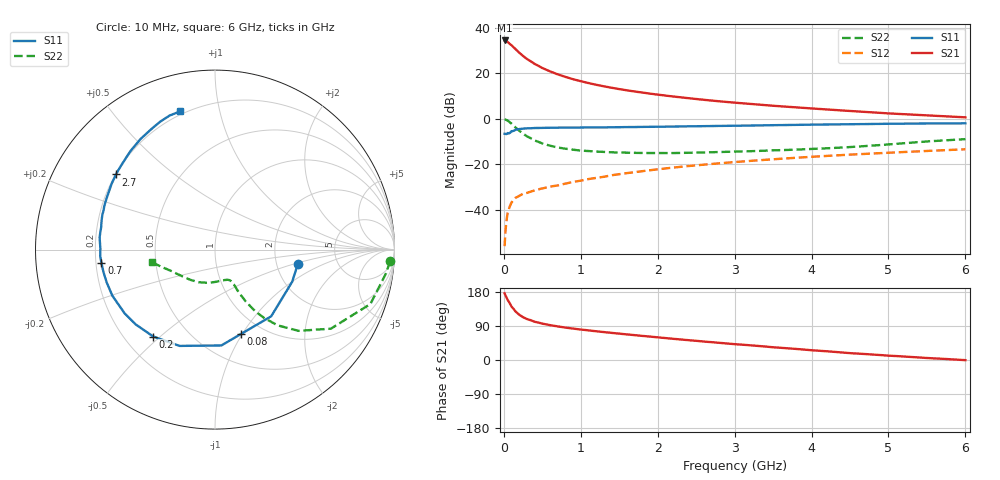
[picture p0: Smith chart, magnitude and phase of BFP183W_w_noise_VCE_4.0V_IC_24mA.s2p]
! Infineon Technologies  Discrete & RF Semiconductors
! BFP183W
! VCE =  4.0 V,  IC =  24 mA
! Common Emitter S-Parameters:  Jan 2017
# GHz  S  MA  R  50
!  f  S11  S21  S12  S22
! GHz  MAG  ANG  MAG  ANG  MAG  ANG  MAG  ANG
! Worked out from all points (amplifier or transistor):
!   77 points, 10 MHz to 6 GHz, reference 50 ohm
!   highest |S21| = 34.4 dB at 10 MHz (marker M1)
!   |S21| within 3 dB of that: start of sweep to 127.3 MHz
!   unconditionally stable (mu >= 1): 1.089 GHz to 3.505 GHz
!   at 130 MHz: K = 0.26, MSG = 33.4 dB, |S12| = -35.5 dB
!   at 2.2 GHz: K = 1.06, MAG = 14.1 dB, |S12| = -21.4 dB
!   at 6 GHz: K = 0.87, MSG = 7.0 dB, |S12| = -13.4 dB
!   lowest NFmin = 1.27 dB at 450 MHz
!   S11 on the Smith chart (normalised r, x): 10 MHz: 2.63, -0.54; 80 MHz: 0.80, -0.99; 200 MHz: 0.32, -0.47; 700 MHz: 0.22, -0.06; 2.7 GHz: 0.20, +0.32; 6 GHz: 0.18, +0.76
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0.01  0.4684 -9.9  52.26 176.0  0.0016 85.1  0.9774 -3.8
0.02  0.4659 -22.6  51.82 170.8  0.0032 97.9  0.9621 -7.9
0.05  0.4859 -49.9  48.48 158.3  0.0087 72.4  0.9174 -19.3
0.08  0.4914 -72.7  43.56 148.5  0.0122 64.2  0.829 -27.7
0.1  0.5352 -86.2  41.12 140.8  0.0146 61.0  0.7818 -34.3
0.15  0.5718 -110.2  33.95 128.5  0.0183 54.0  0.6495 -44.2
0.2  0.594 -125.4  28.2 119.5  0.0203 49.2  0.5479 -50.4
0.25  0.6075 -136.7  23.88 112.9  0.0227 45.8  0.4711 -54.2
0.3  0.6162 -144.6  20.53 108.1  0.0236 45.9  0.4121 -56.8
0.4  0.6269 -155.8  16.01 100.9  0.0268 48.0  0.3345 -59.4
0.5  0.6305 -163.1  13 96.0  0.0296 49.2  0.2877 -60.5
0.6  0.634 -168.7  10.96 92.0  0.0324 50.0  0.2563 -61.2
0.7  0.6373 -173.2  9.433 88.7  0.0344 52.8  0.2341 -61.3
0.9  0.6387 179.5  7.375 82.9  0.0411 55.8  0.2093 -62.2
1.1  0.6463 174.0  6.073 78.2  0.0475 58.1  0.1957 -63.2
1.5  0.6535 164.8  4.473 69.6  0.0608 59.4  0.1813 -67.9
2.1  0.6707 152.9  3.229 57.9  0.0812 59.4  0.1768 -80.1
2.7  0.6921 142.8  2.51 47.1  0.1018 57.5  0.1841 -95.8
3.1  0.7057 136.5  2.187 40.4  0.1155 55.5  0.1919 -106.3
4.1  0.7453 122.8  1.641 24.4  0.1496 50.1  0.2209 -132.2
5.1  0.778 112.2  1.285 10.4  0.1828 43.8  0.2816 -156.3
6  0.794 104.2  1.075 -0.4  0.2139 37.9  0.3571 -168.6
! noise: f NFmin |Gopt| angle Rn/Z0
0.45  1.27  0.23  176  0.1
0.9  1.29  0.27  178  0.09
1.9  1.78  0.43  -159  0.09
2.4  2.01  0.47  -154  0.13
